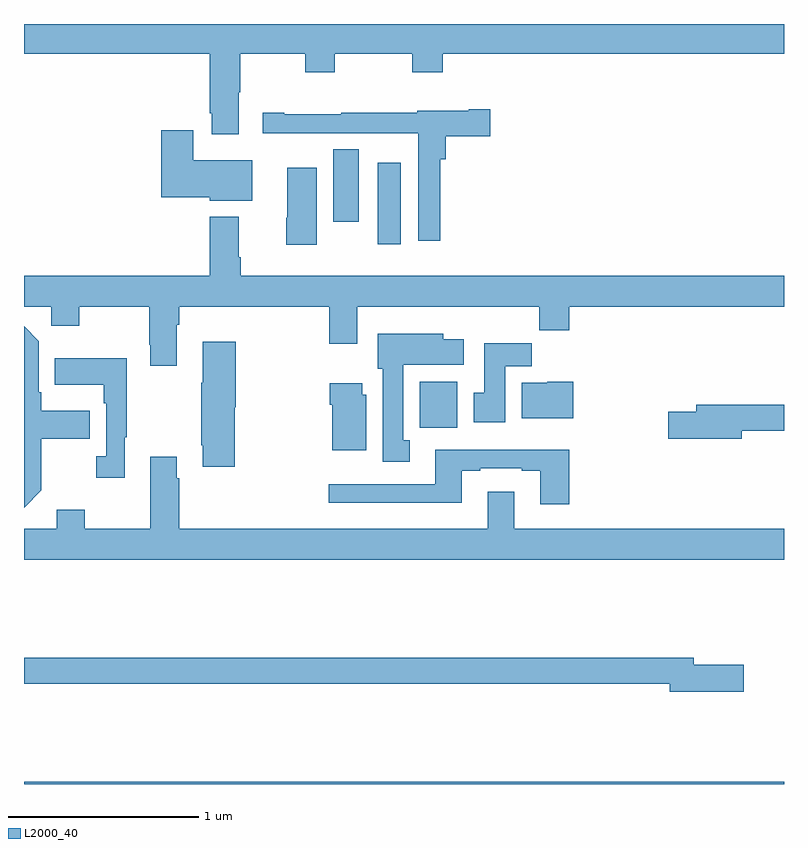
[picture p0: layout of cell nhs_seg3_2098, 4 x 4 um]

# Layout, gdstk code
import gdstk
lib = gdstk.Library(unit=1e-6, precision=1e-09)
def R(c, l, rs):  # rectangles x0, y0, x1, y1
    for r in rs: c.add(gdstk.rectangle(r[:2], r[2:], *l))
def P(c, l, *ps):  # polygons
    for p in ps: c.add(gdstk.Polygon(p, *l))
L2000_40 = (2000, 40)

nhs_seg3_2098 = lib.new_cell('nhs_seg3_2098')
R(nhs_seg3_2098, L2000_40, [(219,702.4,223,702.412), (221.084,704.276,221.281,704.518), (220.862,705.24,220.984,705.67), (220.628,705.36,220.762,705.74)])
P(nhs_seg3_2098, L2000_40, [(220.129,706.04),(220.137,706.04),(220.137,706.244),(220.48,706.244),(220.48,706.145),(220.635,706.145),(220.635,706.244),(221.044,706.244),(221.044,706.145),(221.204,706.145),(221.204,706.244),(223,706.244),(223,706.4),(219,706.4),(219,706.244),(219.977,706.244),(219.977,705.931),(219.989,705.931),(219.989,705.819),(220.129,705.819)],
  [(221.192,705.689),(221.219,705.689),(221.219,705.809),(221.455,705.809),(221.455,705.951),(221.342,705.951),(221.342,705.943),(221.07,705.943),(221.07,705.934),(220.67,705.934),(220.67,705.924),(220.369,705.924),(220.369,705.934),(220.257,705.934),(220.257,705.824),(220.532,705.824),(220.532,705.825),(220.866,705.825),(220.866,705.824),(221.076,705.824),(221.076,705.258),(221.192,705.258)],
  [(220.201,705.682),(219.892,705.682),(219.892,705.841),(219.722,705.841),(219.722,705.488),(219.978,705.488),(219.978,705.47),(220.201,705.47)],
  [(220.54,705.643),(220.385,705.643),(220.385,705.381),(220.379,705.381),(220.379,705.237),(220.54,705.237)],
  [(219.805,704.816),(219.818,704.816),(219.818,704.912),(220.606,704.912),(220.606,704.718),(220.753,704.718),(220.753,704.912),(221.713,704.912),(221.713,704.788),(221.87,704.788),(221.87,704.912),(223,704.912),(223,705.076),(220.142,705.076),(220.142,705.172),(220.129,705.172),(220.129,705.385),(219.977,705.385),(219.977,705.076),(219,705.076),(219,704.912),(219.144,704.912),(219.144,704.813),(219.291,704.813),(219.291,704.912),(219.658,704.912),(219.658,704.713),(219.665,704.713),(219.665,704.601),(219.805,704.601)],
  [(219.091,703.945),(219.091,704.218),(219.347,704.218),(219.347,704.365),(219.091,704.365),(219.091,704.461),(219.078,704.461),(219.078,704.73),(219,704.808),(219,703.854)],
  [(221.029,704.21),(220.996,704.21),(220.996,704.606),(221.314,704.606),(221.314,704.74),(221.206,704.74),(221.206,704.77),(220.862,704.77),(220.862,704.586),(220.889,704.586),(220.889,704.097),(221.029,704.097)],
  [(220.109,704.382),(220.114,704.382),(220.114,704.728),(219.941,704.728),(219.941,704.513),(219.934,704.513),(219.934,704.182),(219.941,704.182),(219.941,704.07),(220.109,704.07)],
  [(221.533,704.6),(221.672,704.6),(221.672,704.719),(221.423,704.719),(221.423,704.46),(221.366,704.46),(221.366,704.304),(221.533,704.304)],
  [(219.529,704.225),(219.541,704.225),(219.541,704.641),(219.163,704.641),(219.163,704.501),(219.42,704.501),(219.42,704.405),(219.432,704.405),(219.432,704.126),(219.381,704.126),(219.381,704.013),(219.529,704.013)],
  [(221.89,704.518),(221.754,704.518),(221.754,704.512),(221.621,704.512),(221.621,704.324),(221.89,704.324)],
  [(220.801,704.448),(220.78,704.448),(220.78,704.509),(220.61,704.509),(220.61,704.396),(220.622,704.396),(220.622,704.156),(220.801,704.156)],
  [(222.778,704.26),(223,704.26),(223,704.396),(222.539,704.396),(222.539,704.36),(222.39,704.36),(222.39,704.218),(222.778,704.218)],
  [(221.87,704.158),(221.165,704.158),(221.165,703.977),(220.605,703.977),(220.605,703.88),(221.305,703.88),(221.305,704.049),(221.401,704.049),(221.401,704.061),(221.621,704.061),(221.621,704.049),(221.717,704.049),(221.717,703.872),(221.87,703.872)],
  [(223,703.744),(221.581,703.744),(221.581,703.939),(221.441,703.939),(221.441,703.744),(219.818,703.744),(219.818,704.009),(219.805,704.009),(219.805,704.122),(219.665,704.122),(219.665,703.744),(219.321,703.744),(219.321,703.843),(219.173,703.843),(219.173,703.744),(219,703.744),(219,703.58),(223,703.58)],
  [(222.787,703.028),(222.526,703.028),(222.526,703.064),(219,703.064),(219,702.928),(222.398,702.928),(222.398,702.886),(222.787,702.886)])

lib.write_gds('nhs_seg3_2098.gds')
